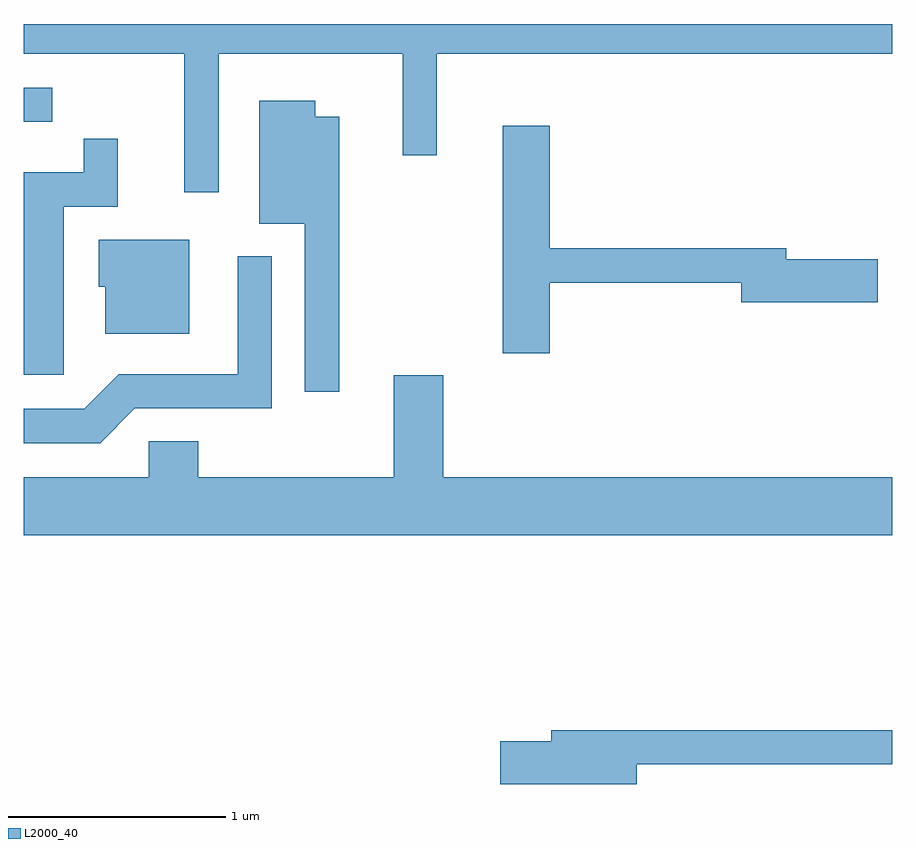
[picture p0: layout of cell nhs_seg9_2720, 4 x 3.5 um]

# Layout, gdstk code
import gdstk
lib = gdstk.Library(unit=1e-6, precision=1e-09)
def R(c, l, rs):  # rectangles x0, y0, x1, y1
    for r in rs: c.add(gdstk.rectangle(r[:2], r[2:], *l))
def P(c, l, *ps):  # polygons
    for p in ps: c.add(gdstk.Polygon(p, *l))
L2000_40 = (2000, 40)

nhs_seg9_2720 = lib.new_cell('nhs_seg9_2720')
R(nhs_seg9_2720, L2000_40, [(265.611,1955.981,265.743,1956.139)])
P(nhs_seg9_2720, L2000_40, [(266.509,1956.296),(267.356,1956.296),(267.356,1955.828),(267.514,1955.828),(267.514,1956.296),(269.611,1956.296),(269.611,1956.432),(265.611,1956.432),(265.611,1956.296),(266.351,1956.296),(266.351,1955.658),(266.509,1955.658)],
  [(267.064,1956.004),(266.954,1956.004),(266.954,1956.079),(266.696,1956.079),(266.696,1955.511),(266.906,1955.511),(266.906,1954.738),(267.064,1954.738)],
  [(268.034,1955.241),(268.916,1955.241),(268.916,1955.151),(269.544,1955.151),(269.544,1955.349),(269.124,1955.349),(269.124,1955.399),(268.034,1955.399),(268.034,1955.964),(267.816,1955.964),(267.816,1954.916),(268.034,1954.916)],
  [(265.794,1955.591),(266.044,1955.591),(266.044,1955.903),(265.886,1955.903),(265.886,1955.749),(265.611,1955.749),(265.611,1954.816),(265.794,1954.816)],
  [(266.374,1955.439),(265.956,1955.439),(265.956,1955.221),(265.986,1955.221),(265.986,1955.006),(266.374,1955.006)],
  [(266.122,1954.661),(266.754,1954.661),(266.754,1955.363),(266.596,1955.363),(266.596,1954.819),(266.049,1954.819),(265.889,1954.659),(265.611,1954.659),(265.611,1954.501),(265.962,1954.501)],
  [(269.611,1954.344),(267.544,1954.344),(267.544,1954.814),(267.316,1954.814),(267.316,1954.344),(266.414,1954.344),(266.414,1954.509),(266.186,1954.509),(266.186,1954.344),(265.611,1954.344),(265.611,1954.076),(269.611,1954.076)],
  [(268.434,1953.021),(269.611,1953.021),(269.611,1953.179),(268.041,1953.179),(268.041,1953.129),(267.806,1953.129),(267.806,1952.931),(268.434,1952.931)])

lib.write_gds('nhs_seg9_2720.gds')
